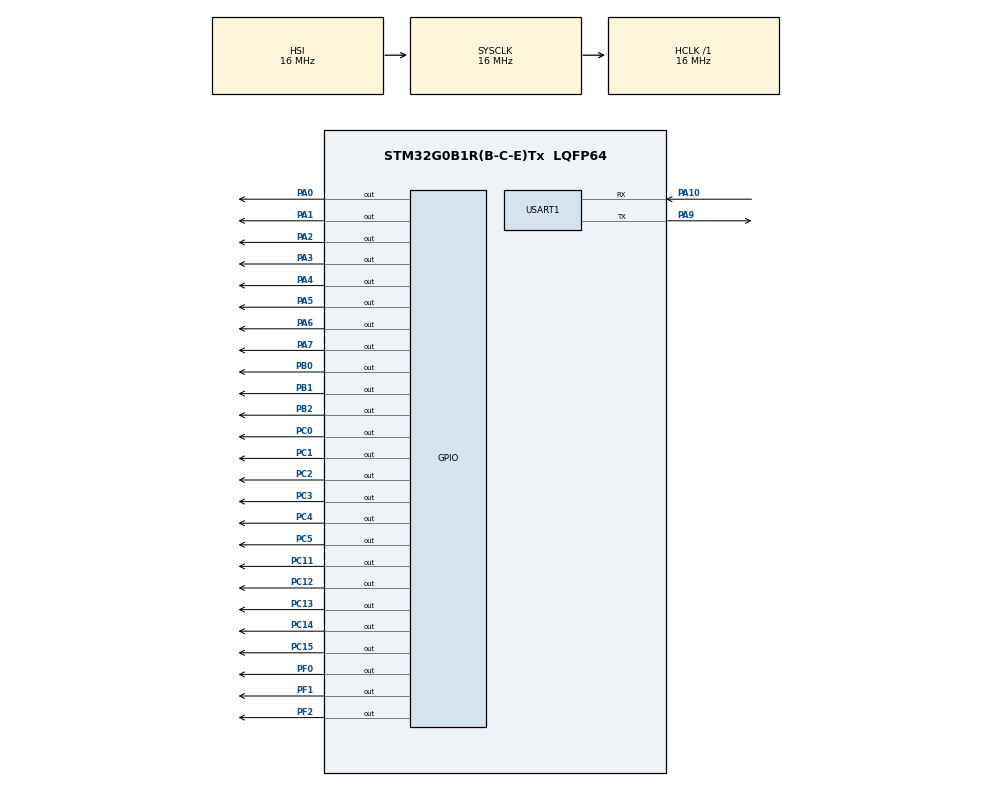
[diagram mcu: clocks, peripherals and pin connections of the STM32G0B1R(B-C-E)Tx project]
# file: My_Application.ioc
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Mcu.Family=STM32G0
Mcu.Name=STM32G0B1R(B-C-E)Tx
Mcu.Package=LQFP64
PA0.Signal=GPIO_Output
PA1.Signal=GPIO_Output
PA10.Mode=Asynchronous
PA10.Signal=USART1_RX
PA2.Signal=GPIO_Output
PA3.Signal=GPIO_Output
PA4.Signal=GPIO_Output
PA5.Signal=GPIO_Output
PA6.Signal=GPIO_Output
PA7.Signal=GPIO_Output
PA9.Mode=Asynchronous
PA9.Signal=USART1_TX
PB0.Signal=GPIO_Output
PB1.Signal=GPIO_Output
PB2.Signal=GPIO_Output
PC0.Signal=GPIO_Output
PC1.Signal=GPIO_Output
PC11.Signal=GPIO_Output
PC12.Signal=GPIO_Output
PC13.Signal=GPIO_Output
PC14-OSC32_IN\ (PC14).Signal=GPIO_Output
PC15-OSC32_OUT\ (PC15).Signal=GPIO_Output
PC2.Signal=GPIO_Output
PC3.Signal=GPIO_Output
PC4.Signal=GPIO_Output
PC5.Signal=GPIO_Output
PF0-OSC_IN\ (PF0).Signal=GPIO_Output
PF1-OSC_OUT\ (PF1).Signal=GPIO_Output
PF2-NRST.Signal=GPIO_Output
ProjectManager.HeapSize=0x200
ProjectManager.StackSize=0x400
ProjectManager.TargetToolchain=STM32CubeIDE
RCC.AHBFreq_Value=16000000
RCC.CortexFreq_Value=16000000
RCC.EXTERNAL_CLOCK_VALUE=48000
RCC.HCLKFreq_Value=16000000
RCC.HSE_VALUE=8000000
RCC.HSI48_VALUE=48000000
RCC.HSI_VALUE=16000000
RCC.LSE_VALUE=32768
RCC.SYSCLKFreq_VALUE=16000000
RCC.USBFreq_Value=48000000
RCC.VCOOutputFreq_Value=128000000
USART1.VirtualMode-Asynchronous=VM_ASYNC
VP_SYS_VS_DBSignals.Mode=DisableDeadBatterySignals
board=custom

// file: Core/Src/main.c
/* USER CODE BEGIN Header */
/**
  ******************************************************************************
  * @file           : main.c
  * @brief          : Main program body
  ******************************************************************************
  * @attention
  *
  * Copyright (c) 2026 STMicroelectronics.
  * All rights reserved.
  *
  * This software is licensed under terms that can be found in the LICENSE file
  * in the root directory of this software component.
  * If no LICENSE file comes with this software, it is provided AS-IS.
  *
  ******************************************************************************
  */
/* USER CODE END Header */
#include "main.h"

/* USER CODE BEGIN Includes */
#include <stdio.h>
#include <string.h>

/* USER CODE END Includes */

UART_HandleTypeDef huart1;

/* USER CODE BEGIN PV */
static volatile uint32_t button_presses;  /* set by EXTI ISR, consumed in main loop */
static volatile uint32_t button_last_tick;

/* USER CODE END PV */

void SystemClock_Config(void);
static void MX_GPIO_Init(void);
static void MX_USART1_UART_Init(void);

/* USER CODE BEGIN 0 */
/* Retarget printf to USART1: syscalls.c _write() calls this for each char */
int __io_putchar(int ch)
{
  uint8_t c = (uint8_t)ch;
  HAL_UART_Transmit(&huart1, &c, 1, HAL_MAX_DELAY);
  return ch;
}

/* B1 (blue USER button, PC13) is active-high on Nucleo-G0: rising edge = press */
void HAL_GPIO_EXTI_Rising_Callback(uint16_t GPIO_Pin)
{
  if (GPIO_Pin == GPIO_PIN_13)
  {
    uint32_t now = HAL_GetTick();
    if (now - button_last_tick > 50)  /* 50 ms debounce */
    {
      button_last_tick = now;
      button_presses++;
    }
  }
}

/* USER CODE END 0 */

int main(void)
{

  /* MCU Configuration--------------------------------------------------------*/

  /* Reset of all peripherals, Initializes the Flash interface and the Systick. */
  HAL_Init();

  /* Configure the system clock */
  SystemClock_Config();

  /* Initialize all configured peripherals */
  MX_GPIO_Init();
  MX_USART1_UART_Init();
  /* USER CODE BEGIN 2 */
  /* Unbuffered stdout so printf output appears immediately, without waiting for '\n' */
  setvbuf(stdout, NULL, _IONBF, 0);

  const char *msg = "Hello\r\n";
  HAL_UART_Transmit(&huart1, (const uint8_t *)msg, strlen(msg), HAL_MAX_DELAY);

  printf("printf via USART1 OK\r\n");

  uint32_t presses_reported = 0;

  /* USER CODE END 2 */

  /* Infinite loop */
  while (1)
  {

    /* USER CODE BEGIN 3 */
    if (button_presses != presses_reported)
    {
      presses_reported = button_presses;
      printf("Button clicked (%lu) at %lu ms\r\n",
             (unsigned long)presses_reported, (unsigned long)button_last_tick);
    }
  }
  /* USER CODE END 3 */
}

void SystemClock_Config(void)
{
  RCC_OscInitTypeDef RCC_OscInitStruct = {0};
  RCC_ClkInitTypeDef RCC_ClkInitStruct = {0};

  /** Configure the main internal regulator output voltage
  */
  HAL_PWREx_ControlVoltageScaling(PWR_REGULATOR_VOLTAGE_SCALE1);

  /** Initializes the RCC Oscillators according to the specified parameters
  * in the RCC_OscInitTypeDef structure.
  */
  RCC_OscInitStruct.OscillatorType = RCC_OSCILLATORTYPE_HSI;
  RCC_OscInitStruct.HSIState = RCC_HSI_ON;
  RCC_OscInitStruct.HSIDiv = RCC_HSI_DIV1;
  RCC_OscInitStruct.HSICalibrationValue = RCC_HSICALIBRATION_DEFAULT;
  RCC_OscInitStruct.PLL.PLLState = RCC_PLL_NONE;
  if (HAL_RCC_OscConfig(&RCC_OscInitStruct) != HAL_OK)
  {
    Error_Handler();
  }

  /** Initializes the CPU, AHB and APB buses clocks
  */
  RCC_ClkInitStruct.ClockType = RCC_CLOCKTYPE_HCLK|RCC_CLOCKTYPE_SYSCLK
                              |RCC_CLOCKTYPE_PCLK1;
  RCC_ClkInitStruct.SYSCLKSource = RCC_SYSCLKSOURCE_HSI;
  RCC_ClkInitStruct.AHBCLKDivider = RCC_SYSCLK_DIV1;
  RCC_ClkInitStruct.APB1CLKDivider = RCC_HCLK_DIV1;

  if (HAL_RCC_ClockConfig(&RCC_ClkInitStruct, FLASH_LATENCY_0) != HAL_OK)
  {
    Error_Handler();
  }
}

static void MX_USART1_UART_Init(void)
{

  huart1.Instance = USART1;
  huart1.Init.BaudRate = 115200;
  huart1.Init.WordLength = UART_WORDLENGTH_8B;
  huart1.Init.StopBits = UART_STOPBITS_1;
  huart1.Init.Parity = UART_PARITY_NONE;
  huart1.Init.Mode = UART_MODE_TX_RX;
  huart1.Init.HwFlowCtl = UART_HWCONTROL_NONE;
  huart1.Init.OverSampling = UART_OVERSAMPLING_16;
  huart1.Init.OneBitSampling = UART_ONE_BIT_SAMPLE_DISABLE;
  huart1.Init.ClockPrescaler = UART_PRESCALER_DIV1;
  huart1.AdvancedInit.AdvFeatureInit = UART_ADVFEATURE_NO_INIT;
  if (HAL_UART_Init(&huart1) != HAL_OK)
  {
    Error_Handler();
  }
  if (HAL_UARTEx_SetTxFifoThreshold(&huart1, UART_TXFIFO_THRESHOLD_1_8) != HAL_OK)
  {
    Error_Handler();
  }
  if (HAL_UARTEx_SetRxFifoThreshold(&huart1, UART_RXFIFO_THRESHOLD_1_8) != HAL_OK)
  {
    Error_Handler();
  }
  if (HAL_UARTEx_DisableFifoMode(&huart1) != HAL_OK)
  {
    Error_Handler();
  }

}

static void MX_GPIO_Init(void)
{
  GPIO_InitTypeDef GPIO_InitStruct = {0};

  /* GPIO Ports Clock Enable */
  __HAL_RCC_GPIOC_CLK_ENABLE();
  __HAL_RCC_GPIOF_CLK_ENABLE();
  __HAL_RCC_GPIOA_CLK_ENABLE();
  __HAL_RCC_GPIOB_CLK_ENABLE();

  /*Configure GPIO pin Output Level */
  HAL_GPIO_WritePin(GPIOC, GPIO_PIN_11|GPIO_PIN_12|GPIO_PIN_13|GPIO_PIN_14
                          |GPIO_PIN_15|GPIO_PIN_0|GPIO_PIN_1|GPIO_PIN_2
                          |GPIO_PIN_3|GPIO_PIN_4|GPIO_PIN_5, GPIO_PIN_RESET);

  /*Configure GPIO pin Output Level */
  HAL_GPIO_WritePin(GPIOF, GPIO_PIN_0|GPIO_PIN_1|GPIO_PIN_2, GPIO_PIN_RESET);

  /*Configure GPIO pin Output Level */
  HAL_GPIO_WritePin(GPIOA, GPIO_PIN_0|GPIO_PIN_1|GPIO_PIN_2|GPIO_PIN_3
                          |GPIO_PIN_4|GPIO_PIN_5|GPIO_PIN_6|GPIO_PIN_7, GPIO_PIN_RESET);

  /*Configure GPIO pin Output Level */
  HAL_GPIO_WritePin(GPIOB, GPIO_PIN_0|GPIO_PIN_1|GPIO_PIN_2, GPIO_PIN_RESET);

  /*Configure GPIO pins : PC11 PC12 PC13 PC14
                           PC15 PC0 PC1 PC2
                           PC3 PC4 PC5 */
  GPIO_InitStruct.Pin = GPIO_PIN_11|GPIO_PIN_12|GPIO_PIN_13|GPIO_PIN_14
                          |GPIO_PIN_15|GPIO_PIN_0|GPIO_PIN_1|GPIO_PIN_2
                          |GPIO_PIN_3|GPIO_PIN_4|GPIO_PIN_5;
  GPIO_InitStruct.Mode = GPIO_MODE_OUTPUT_PP;
  GPIO_InitStruct.Pull = GPIO_NOPULL;
  GPIO_InitStruct.Speed = GPIO_SPEED_FREQ_LOW;
  HAL_GPIO_Init(GPIOC, &GPIO_InitStruct);

  /*Configure GPIO pins : PF0 PF1 PF2 */
  GPIO_InitStruct.Pin = GPIO_PIN_0|GPIO_PIN_1|GPIO_PIN_2;
  GPIO_InitStruct.Mode = GPIO_MODE_OUTPUT_PP;
  GPIO_InitStruct.Pull = GPIO_NOPULL;
  GPIO_InitStruct.Speed = GPIO_SPEED_FREQ_LOW;
  HAL_GPIO_Init(GPIOF, &GPIO_InitStruct);

  /*Configure GPIO pins : PA0 PA1 PA2 PA3
                           PA4 PA5 PA6 PA7 */
  GPIO_InitStruct.Pin = GPIO_PIN_0|GPIO_PIN_1|GPIO_PIN_2|GPIO_PIN_3
                          |GPIO_PIN_4|GPIO_PIN_5|GPIO_PIN_6|GPIO_PIN_7;
  GPIO_InitStruct.Mode = GPIO_MODE_OUTPUT_PP;
  GPIO_InitStruct.Pull = GPIO_NOPULL;
  GPIO_InitStruct.Speed = GPIO_SPEED_FREQ_LOW;
  HAL_GPIO_Init(GPIOA, &GPIO_InitStruct);

  /*Configure GPIO pins : PB0 PB1 PB2 */
  GPIO_InitStruct.Pin = GPIO_PIN_0|GPIO_PIN_1|GPIO_PIN_2;
  GPIO_InitStruct.Mode = GPIO_MODE_OUTPUT_PP;
  GPIO_InitStruct.Pull = GPIO_NOPULL;
  GPIO_InitStruct.Speed = GPIO_SPEED_FREQ_LOW;
  HAL_GPIO_Init(GPIOB, &GPIO_InitStruct);

  /* USER CODE BEGIN MX_GPIO_Init_2 */
  /* The .ioc has PC13 as GPIO_Output; it is the B1 USER button, so re-configure
     it as a rising-edge EXTI input. Better: set PC13 to GPIO_EXTI13 in the .ioc. */
  GPIO_InitStruct.Pin = GPIO_PIN_13;
  GPIO_InitStruct.Mode = GPIO_MODE_IT_RISING;
  GPIO_InitStruct.Pull = GPIO_NOPULL;  /* board has an external pull-down */
  HAL_GPIO_Init(GPIOC, &GPIO_InitStruct);
  HAL_NVIC_SetPriority(EXTI4_15_IRQn, 3, 0);
  HAL_NVIC_EnableIRQ(EXTI4_15_IRQn);

  /* USER CODE END MX_GPIO_Init_2 */
}

void Error_Handler(void)
{
  __disable_irq();
  while (1)
  {
  }
}
